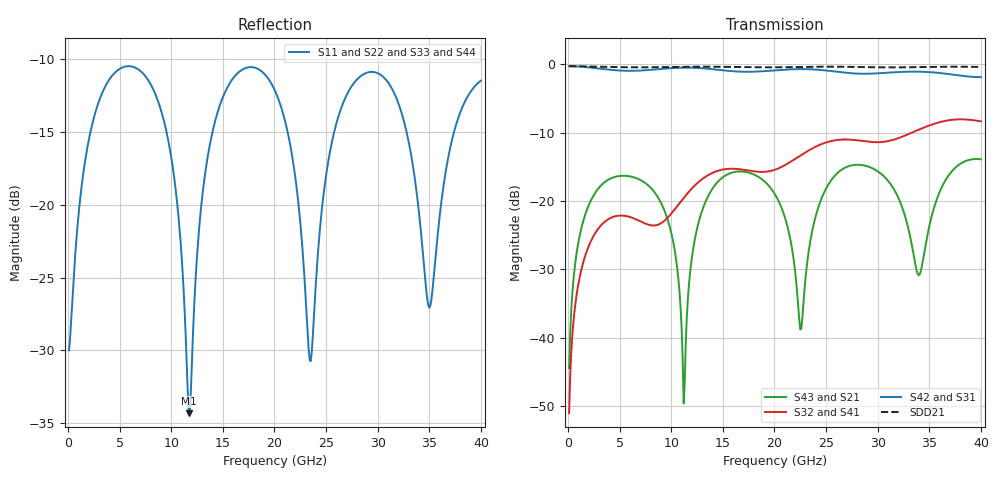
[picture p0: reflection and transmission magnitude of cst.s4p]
! thru_BV_ts_m2_per0_in: 2×thru F.Cu, 8 mm, pair
! stackup: as the board case
! ports: 1 near, 2 near, 3 far, 4 far
! CST Studio Suite 2025.5 Release from 2025-05-30, time domain (FIT, hexahedral, PBA), 91590 mesh cells, 25 s
! mesh: {'lpw': 20, 'lpb': 20, 'minstep': 0.0, 'ratio': 20}; ports: port 1 (face); port 2 (face); port 3 (face); port 4 (face)
! interpolated from CST's 1001 samples to the case grid
# Hz S RI R 50
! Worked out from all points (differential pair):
!   400 points, 100 MHz to 40 GHz, reference 50 ohm
!   strongest paths, dB at 100 MHz, 10.1 GHz, 20.1 GHz, 30.1 GHz, 40 GHz:
!     S42: -0.3, -0.6, -0.9, -1.3, -1.9
!     S31: -0.3, -0.6, -0.9, -1.3, -1.9
!     S32: -51.0, -21.6, -15.4, -11.4, -8.3
!     S41: -51.0, -21.7, -15.4, -11.4, -8.4
!     S43: -44.4, -25.3, -19.2, -15.8, -13.9
!     S21: -44.4, -25.3, -19.2, -15.8, -13.9
!   taken as a pair (ports 2,1 in; 4,3 out), SDD21 dB: -0.3, -0.4, -0.5, -0.5, -0.4
!   lowest |S11| = -34.3 dB at 11.7 GHz (marker M1), VSWR 1.04, Z = 51.9 - j0.419 ohm
!   |S11| at or under -10 dB: start of sweep to end of sweep
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1e8  -0.0302 0.00969  0.00336 0.00499  0.9671 -0.0277  0.00111 -0.00258
     0.00336 0.00499  -0.0302 0.00969  0.00111 -0.00258  0.9671 -0.0277
     0.9671 -0.0277  0.00111 -0.00258  -0.0302 0.00969  0.00336 0.00499
     0.00111 -0.00258  0.9671 -0.0277  0.00336 0.00499  -0.0302 0.00969
3.7e9  0.2091 0.1514  0.1279 0.0572  0.4796 -0.7812  -0.072 -0.000194
       0.1279 0.0572  0.2091 0.1515  -0.072 -0.000209  0.4796 -0.7812
       0.4796 -0.7812  -0.072 -0.000209  0.2091 0.1515  0.1279 0.0572
       -0.072 -0.000194  0.4796 -0.7812  0.1279 0.0572  0.2092 0.1514
1.17e10  0.0188 -0.00403  0.00665 0.0229  -0.9437 -0.0278  0.0042 0.1168
         0.00665 0.0229  0.0189 -0.00408  0.00423 0.1168  -0.9437 -0.0278
         -0.9437 -0.0278  0.00423 0.1168  0.0189 -0.00401  0.00665 0.0229
         0.0042 0.1168  -0.9437 -0.0278  0.00665 0.0229  0.0188 -0.0041
1.67e10  0.2834 0.0492  0.1641 -0.0115  -0.2301 0.8517  0.17 -0.0115
         0.1641 -0.0115  0.2832 0.0499  0.1702 -0.0116  -0.23 0.8517
         -0.2301 0.8517  0.1702 -0.0116  0.2833 0.0499  0.1641 -0.0115
         0.17 -0.0115  -0.23 0.8517  0.1641 -0.0115  0.2833 0.0492
2.32e10  0.0279 -0.0243  -0.00235 0.0369  0.915 0.0963  0.016 -0.2311
         -0.00235 0.0369  0.0284 -0.024  0.0159 -0.2311  0.915 0.096
         0.915 0.0963  0.0159 -0.2311  0.0285 -0.0242  -0.00235 0.0369
         0.016 -0.2311  0.915 0.096  -0.00235 0.0369  0.0279 -0.024
3.04e10  0.2592 -0.0971  0.112 -0.1094  -0.1893 -0.8403  -0.2479 0.1066
         0.112 -0.1094  0.2596 -0.0961  -0.248 0.1069  -0.1895 -0.8402
         -0.1893 -0.8403  -0.248 0.1069  0.2594 -0.096  0.112 -0.1094
         -0.2479 0.1066  -0.1895 -0.8402  0.112 -0.1094  0.2594 -0.0972
4e10  0.266 -0.00293  0.1911 -0.0649  -0.2522 0.7641  0.3792 0.0485
      0.1911 -0.0649  0.2653 -0.00138  0.3797 0.0483  -0.252 0.7642
      -0.2522 0.7641  0.3797 0.0483  0.2655 -0.00124  0.1911 -0.0649
      0.3792 0.0485  -0.252 0.7642  0.1911 -0.0649  0.2658 -0.00308
